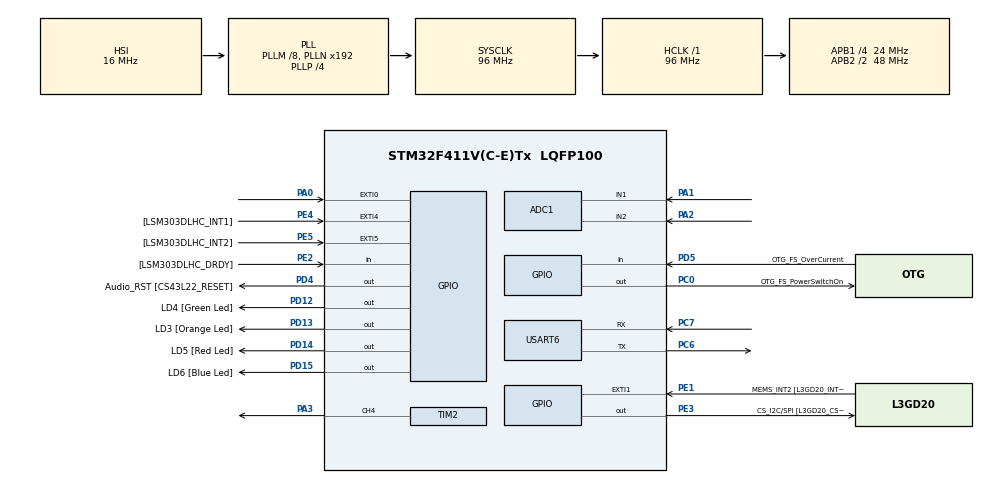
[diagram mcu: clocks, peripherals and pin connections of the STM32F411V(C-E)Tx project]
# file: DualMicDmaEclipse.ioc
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ADC1.Channel-0\#ChannelRegularConversion=ADC_CHANNEL_1
ADC1.Channel-1\#ChannelRegularConversion=ADC_CHANNEL_2
ADC1.ContinuousConvMode=ENABLE
ADC1.DMAContinuousRequests=ENABLE
ADC1.NbrOfConversion=2
ADC1.NbrOfConversionFlag=1
ADC1.Rank-0\#ChannelRegularConversion=1
ADC1.Rank-1\#ChannelRegularConversion=2
ADC1.SamplingTime-0\#ChannelRegularConversion=ADC_SAMPLETIME_56CYCLES
ADC1.SamplingTime-1\#ChannelRegularConversion=ADC_SAMPLETIME_56CYCLES
ADC1.ScanConvMode=ENABLE
ADC1.master=1
Dma.ADC1.0.Channel=DMA_CHANNEL_0
Dma.ADC1.0.Direction=DMA_PERIPH_TO_MEMORY
Dma.ADC1.0.FIFOMode=DMA_FIFOMODE_DISABLE
Dma.ADC1.0.Instance=DMA2_Stream0
Dma.ADC1.0.MemDataAlignment=DMA_MDATAALIGN_WORD
Dma.ADC1.0.MemInc=DMA_MINC_ENABLE
Dma.ADC1.0.Mode=DMA_CIRCULAR
Dma.ADC1.0.PeriphDataAlignment=DMA_PDATAALIGN_WORD
Dma.ADC1.0.PeriphInc=DMA_PINC_DISABLE
Dma.ADC1.0.Priority=DMA_PRIORITY_HIGH
Dma.Request0=ADC1
Mcu.Family=STM32F4
Mcu.Name=STM32F411V(C-E)Tx
Mcu.Package=LQFP100
NVIC.DMA2_Stream0_IRQn=true\:0\:0\:false
NVIC.PriorityGroup=NVIC_PRIORITYGROUP_0
PA0-WKUP.GPIO_ModeDefaultEXTI=GPIO_MODE_EVT_RISING
PA0-WKUP.Signal=GPXTI0
PA1.Signal=ADCx_IN1
PA10.GPIO_Label=OTG_FS_ID
PA10.Signal=USB_OTG_FS_ID
PA11.GPIO_Label=OTG_FS_DM
PA11.Signal=USB_OTG_FS_DM
PA12.GPIO_Label=OTG_FS_DP
PA12.Signal=USB_OTG_FS_DP
PA13.GPIO_Label=SWDIO
PA13.Signal=SYS_JTMS-SWDIO
PA14.GPIO_Label=SWCLK
PA14.Signal=SYS_JTCK-SWCLK
PA2.Signal=ADCx_IN2
PA3.Signal=S_TIM2_CH4
PA4.GPIO_Label=I2S3_WS [CS43L22_LRCK]
PA4.GPIO_Mode=GPIO_MODE_AF_PP
PA4.GPIO_PuPd=GPIO_NOPULL
PA4.GPIO_Speed=GPIO_SPEED_LOW
PA4.Signal=I2S3_WS
PA5.GPIO_Label=SPI1_SCK [L3GD20_SC/SPC]
PA5.Signal=SPI1_SCK
PA6.GPIO_Label=SPI1_MISO [L3GD20_AS0/SDO]
PA6.Signal=SPI1_MISO
PA7.GPIO_Label=SPI1_MOSI [L3GD20_SDA/SDI/SDO]
PA7.Signal=SPI1_MOSI
PA9.GPIO_Label=VBUS_FS
PA9.Signal=USB_OTG_FS_VBUS
PB10.GPIO_Label=CLK_IN [MP45DT02_CLK]
PB10.Signal=I2S2_CK
PB12.Signal=I2S2_WS
PB3.GPIO_Label=SWO
PB3.Signal=SYS_JTDO-SWO
PB6.GPIO_Label=Audio_SCL [CS43L22_SCL]
PB6.GPIO_Mode=GPIO_MODE_AF_OD
PB6.GPIO_PuPd=GPIO_NOPULL
PB6.GPIO_Speed=GPIO_SPEED_LOW
PB6.Signal=I2C1_SCL
PB9.GPIO_Label=Audio_SDA [CS43L22_SDA]
PB9.GPIO_Mode=GPIO_MODE_AF_OD
PB9.GPIO_PuPd=GPIO_NOPULL
PB9.GPIO_Speed=GPIO_SPEED_LOW
PB9.Signal=I2C1_SDA
PC0.GPIO_Label=OTG_FS_PowerSwitchOn
PC0.Signal=GPIO_Output
PC10.GPIO_Label=I2S3_SCK [CS43L22_SCLK]
PC10.GPIO_Mode=GPIO_MODE_AF_PP
PC10.GPIO_PuPd=GPIO_NOPULL
PC10.GPIO_Speed=GPIO_SPEED_LOW
PC10.Signal=I2S3_CK
PC12.GPIO_Label=I2S3_SD [CS43L22_SDIN]
PC12.GPIO_Mode=GPIO_MODE_AF_PP
PC12.GPIO_PuPd=GPIO_NOPULL
PC12.GPIO_Speed=GPIO_SPEED_LOW
PC12.Signal=I2S3_SD
PC14-OSC32_IN.GPIO_Label=PC14-OSC32_IN
PC14-OSC32_IN.Signal=RCC_OSC32_IN
PC15-OSC32_OUT.GPIO_Label=PC15-OSC32_OUT
PC15-OSC32_OUT.Signal=RCC_OSC32_OUT
PC3.GPIO_Label=PDM_OUT [MP45DT02_DOUT]
PC3.Signal=I2S2_SD
PC6.Mode=Asynchronous
PC6.Signal=USART6_TX
PC7.Mode=Asynchronous
PC7.Signal=USART6_RX
PD12.GPIO_Label=LD4 [Green Led]
PD12.GPIO_PuPd=GPIO_NOPULL
PD12.GPIO_Speed=GPIO_SPEED_LOW
PD12.Signal=GPIO_Output
PD13.GPIO_Label=LD3 [Orange Led]
PD13.GPIO_PuPd=GPIO_NOPULL
PD13.GPIO_Speed=GPIO_SPEED_LOW
PD13.Signal=GPIO_Output
PD14.GPIO_Label=LD5 [Red Led]
PD14.GPIO_PuPd=GPIO_NOPULL
PD14.GPIO_Speed=GPIO_SPEED_LOW
PD14.Signal=GPIO_Output
PD15.GPIO_Label=LD6 [Blue Led]
PD15.GPIO_PuPd=GPIO_NOPULL
PD15.GPIO_Speed=GPIO_SPEED_LOW
PD15.Signal=GPIO_Output
PD4.GPIO_Label=Audio_RST [CS43L22_RESET]
PD4.Signal=GPIO_Output
PD5.GPIO_Label=OTG_FS_OverCurrent
PD5.Signal=GPIO_Input
PE1.GPIO_Label=MEMS_INT2 [L3GD20_INT2]
PE1.GPIO_ModeDefaultEXTI=GPIO_MODE_EVT_RISING
PE1.Signal=GPXTI1
PE2.GPIO_Label=[LSM303DLHC_DRDY]
PE2.Signal=GPIO_Input
PE3.GPIO_Label=CS_I2C/SPI [L3GD20_CS_I2C/SPI]
PE3.Signal=GPIO_Output
PE4.GPIO_Label=[LSM303DLHC_INT1]
PE4.GPIO_ModeDefaultEXTI=GPIO_MODE_EVT_RISING
PE4.Signal=GPXTI4
PE5.GPIO_Label=[LSM303DLHC_INT2]
PE5.GPIO_ModeDefaultEXTI=GPIO_MODE_EVT_RISING
PE5.Signal=GPXTI5
PH0\ -\ OSC_IN.GPIO_Label=PH0-OSC_IN
PH0\ -\ OSC_IN.Signal=RCC_OSC_IN
PH1\ -\ OSC_OUT.GPIO_Label=PH1-OSC_OUT
PH1\ -\ OSC_OUT.Signal=RCC_OSC_OUT
ProjectManager.HeapSize=0x400
ProjectManager.StackSize=0x200
ProjectManager.TargetToolchain=SW4STM32
RCC.48MHZClocksFreq_Value=48000000
RCC.AHBFreq_Value=96000000
RCC.APB1CLKDivider=RCC_HCLK_DIV4
RCC.APB1Freq_Value=24000000
RCC.APB1TimFreq_Value=48000000
RCC.APB2CLKDivider=RCC_HCLK_DIV2
RCC.APB2Freq_Value=48000000
RCC.APB2TimFreq_Value=96000000
RCC.CortexFreq_Value=96000000
RCC.HCLKFreq_Value=96000000
RCC.HSE_VALUE=8000000
RCC.HSI_VALUE=16000000
RCC.LSE_VALUE=32768
RCC.PLLI2SM=5
RCC.PLLI2SN=200
RCC.PLLM=8
RCC.PLLP=RCC_PLLP_DIV4
RCC.PLLQ=8
RCC.SYSCLKFreq_VALUE=96000000
RCC.SYSCLKSource=RCC_SYSCLKSOURCE_PLLCLK
RCC.VCOOutputFreq_Value=384000000
SH.ADCx_IN1.0=ADC1_IN1,IN1
SH.ADCx_IN2.0=ADC1_IN2,IN2
SH.S_TIM2_CH4.0=TIM2_CH4,PWM Generation4 CH4
TIM2.Channel-PWM\ Generation4\ CH4=TIM_CHANNEL_4
TIM2.Period=10000
TIM2.Prescaler=96
VP_TIM2_VS_ClockSourceINT.Mode=Internal
board=STM32F411E-DISCO

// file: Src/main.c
/**
  ******************************************************************************
  * File Name          : main.c
  * Description        : Main program body
  ******************************************************************************
  *
  * COPYRIGHT(c) 2016 STMicroelectronics
  *
  * Redistribution and use in source and binary forms, with or without modification,
  * are permitted provided that the following conditions are met:
  *   1. Redistributions of source code must retain the above copyright notice,
  *      this list of conditions and the following disclaimer.
  *   2. Redistributions in binary form must reproduce the above copyright notice,
  *      this list of conditions and the following disclaimer in the documentation
  *      and/or other materials provided with the distribution.
  *   3. Neither the name of STMicroelectronics nor the names of its contributors
  *      may be used to endorse or promote products derived from this software
  *      without specific prior written permission.
  *
  * THIS SOFTWARE IS PROVIDED BY THE COPYRIGHT HOLDERS AND CONTRIBUTORS "AS IS"
  * AND ANY EXPRESS OR IMPLIED WARRANTIES, INCLUDING, BUT NOT LIMITED TO, THE
  * IMPLIED WARRANTIES OF MERCHANTABILITY AND FITNESS FOR A PARTICULAR PURPOSE ARE
  * DISCLAIMED. IN NO EVENT SHALL THE COPYRIGHT HOLDER OR CONTRIBUTORS BE LIABLE
  * FOR ANY DIRECT, INDIRECT, INCIDENTAL, SPECIAL, EXEMPLARY, OR CONSEQUENTIAL
  * DAMAGES (INCLUDING, BUT NOT LIMITED TO, PROCUREMENT OF SUBSTITUTE GOODS OR
  * SERVICES; LOSS OF USE, DATA, OR PROFITS; OR BUSINESS INTERRUPTION) HOWEVER
  * CAUSED AND ON ANY THEORY OF LIABILITY, WHETHER IN CONTRACT, STRICT LIABILITY,
  * OR TORT (INCLUDING NEGLIGENCE OR OTHERWISE) ARISING IN ANY WAY OUT OF THE USE
  * OF THIS SOFTWARE, EVEN IF ADVISED OF THE POSSIBILITY OF SUCH DAMAGE.
  *
  ******************************************************************************
  */
#include "stm32f4xx_hal.h"

/* USER CODE BEGIN Includes */
#include "string.h"
#include "stdio.h"
#include "math.h"
#include "arm_math.h"
#include "errno.h"
#include "stm32f4xx_hal_tim.h"
/* USER CODE END Includes */

ADC_HandleTypeDef hadc1;
DMA_HandleTypeDef hdma_adc1;

TIM_HandleTypeDef htim2;

UART_HandleTypeDef huart6;

/* USER CODE BEGIN PV */
/* Private variables ---------------------------------------------------------*/
#define ADC_BUFFER_LENGTH 4000
#define MAXDELAY 2000
#define STARTDELAY -2000
#define TIMEDELAY 0.000003665
uint32_t ADCBuffer1[ADC_BUFFER_LENGTH]={0};

//error errno solution "undefined reference to `__errno'"
int errno;
int* __errno(void){return &errno;}

/* USER CODE END PV */

void SystemClock_Config(void);
static void MX_GPIO_Init(void);
static void MX_DMA_Init(void);
static void MX_ADC1_Init(void);
static void MX_USART6_UART_Init(void);
static void MX_TIM2_Init(void);

void HAL_TIM_MspPostInit(TIM_HandleTypeDef *htim);

/* USER CODE BEGIN PFP */
/* Private function prototypes -----------------------------------------------*/

/* USER CODE END PFP */

/* USER CODE BEGIN 0 */
void ExportValues(uint32_t buffer[])
{
	char bufferprint[50] = {""};
	uint32_t twaalfbit = 4095;

	for(int i=0; i<ADC_BUFFER_LENGTH/2; i++)
	{
		  buffer[i] &= twaalfbit;
		  sprintf(bufferprint,"%05d",(int) buffer[i]);
		  HAL_UART_Transmit(&huart6,(uint8_t*) bufferprint,strlen(bufferprint),HAL_MAX_DELAY);
		  HAL_UART_Transmit(&huart6,(uint8_t*)"\r\n",strlen("\r\n"),HAL_MAX_DELAY);
	}
	  HAL_UART_Transmit(&huart6,(uint8_t*)"\r\n",strlen("\r\n"),HAL_MAX_DELAY);
	  sprintf(bufferprint,"....Finished....");
	  HAL_UART_Transmit(&huart6,(uint8_t*) bufferprint,strlen(bufferprint),HAL_MAX_DELAY);
	  HAL_UART_Transmit(&huart6,(uint8_t*)"\r\n",strlen("\r\n"),HAL_MAX_DELAY);
}
void Uart_transmit(uint32_t dma_buffer[])
{
	int i = 0;
	int count = 0;
	char buffer[50] = {"Empty.."};
	uint32_t twaalfbit = 4095;
	//int acht = 8;
	for(i=0; i<ADC_BUFFER_LENGTH;i++)
	{
		  if(i%2 ==0)
		  {

			  dma_buffer[i] &= twaalfbit;
			  sprintf(buffer,/*pin a1:%d ->*/"%05d"   ,(int) dma_buffer[i]);
			  HAL_UART_Transmit(&huart6,(uint8_t*) buffer,strlen(buffer),HAL_MAX_DELAY);
			  count++;
		  }
		  else
		  {
			  dma_buffer[i] &= twaalfbit;
			  sprintf(buffer,"pin a2:%d -> %05d   ",count,(int) dma_buffer[i]);
			  HAL_UART_Transmit(&huart6,(uint8_t*) buffer,strlen(buffer),HAL_MAX_DELAY);
			  count++;
		  }
		  HAL_UART_Transmit(&huart6,(uint8_t*)"\r\n",strlen("\r\n"),HAL_MAX_DELAY);
	}
	HAL_UART_Transmit(&huart6,(uint8_t*)"\r\n",strlen("\r\n"),HAL_MAX_DELAY);
}
void Uart_array(double array[], int length)
{
	HAL_UART_Transmit(&huart6,(uint8_t*)"...Transmitting...",strlen("...Transmitting..."),HAL_MAX_DELAY);
	char buffer[50] = {""};
	for(int i = 0; i<length; i++)
	{
		  sprintf(buffer,"%f",array[i]);
		  HAL_UART_Transmit(&huart6,(uint8_t*) buffer,strlen(buffer),HAL_MAX_DELAY);
		  HAL_UART_Transmit(&huart6,(uint8_t*)"\r\n",strlen("\r\n"),HAL_MAX_DELAY);
	}
}
/*void HAL_ADC_ConvCpltCallback(ADC_HandleTypeDef* hadc)
{
	HAL_GPIO_WritePin(GPIOD,LD4_Pin,GPIO_PIN_SET);//ORANGE
}*/
void Correlate(uint32_t buffer1[], uint32_t buffer2[],double *correlation)
{
	double mean1, mean2, s1, s2, s, denom, r;
	int count = 0;
	int n = ADC_BUFFER_LENGTH/2;
	uint32_t twaalfbit = 4095;
	//mean berekenen
	mean1 = 0;
	mean2 = 0;
	for (int i = 0;i < n;i++)
	{
		buffer1[i] = buffer1[i] & twaalfbit;
		buffer2[i] = buffer2[i] & twaalfbit;
		mean1 += buffer1[i];
		mean2 += buffer2[i];
	}
	mean1 /= n;
	mean2 /= n;

	//denominator
	s1 = 0;
	s2 = 0;
	for (int i = 0;i < n;i++) {
	  s1 += (buffer1[i] - mean1) * (buffer1[i] - mean1);
	  s2 += (buffer2[i] - mean2) * (buffer2[i] - mean2);
	}
	denom = sqrt(s1*s2);

	HAL_UART_Transmit(&huart6,(uint8_t*)"...Denom done...\r\n",strlen("...Denom done...\r\n"),HAL_MAX_DELAY);
	//correlatie reeks

	for (int delay= -4000; delay<4000; delay++)
	{
	  s = 0;
	  for (int i=0; i<n; i++)
	  {
		  //first approach (non-circular)
		 int j = i + delay;
		 if (j < 0 || j >= n)
		 {
			continue;
		 }
		 else
		 {
			s += (buffer1[i] - mean1) * (buffer2[j] - mean2);
		 }
	  }
	  r = s / denom;
	  correlation[count] = r;
	  count++;
	  /* r is the correlation coefficient at "delay" */

	}
}
int ScanHigh(double * correlation)
{
	int top = 5000;
	double value = 0.0;
	for(int i = 0; i<7999; i++)
	{
		if(correlation[i] > value)
		{
			value = correlation[i];
			top = i;
		}
	}
	return top;
}
double berekenHoek(int verschuiving)
{
	int d = verschuiving - 4000;
	int c = 343;
	float x = 0.07;
	double hoek = 500;
	hoek = acos((d * TIMEDELAY * c)/x);
	hoek = hoek * 57.2957795; //radialen omzetten naar graden
	return hoek;
}
void servoMove(double hoek)
{
	int move = 500 + 2.77777 * hoek;
	//__HAL_TIM_SetCompare(&htim1,TIM_CHANNEL_4,1210);

	  __HAL_TIM_SetCompare(&htim2,TIM_CHANNEL_4,move);
	  HAL_Delay(2000);
}
/* USER CODE END 0 */

int main(void)
{

  /* USER CODE BEGIN 1 */
//static int __errno = 1;
//static int errno = 1;
//static int _errno = 1;
  /* USER CODE END 1 */

  /* MCU Configuration----------------------------------------------------------*/

  /* Reset of all peripherals, Initializes the Flash interface and the Systick. */
  HAL_Init();

  /* Configure the system clock */
  SystemClock_Config();

  /* Initialize all configured peripherals */
  MX_GPIO_Init();
  MX_DMA_Init();
  MX_ADC1_Init();
  MX_USART6_UART_Init();
  MX_TIM2_Init();

  /* USER CODE BEGIN 2 */
char tempbuffer[50]= {""};
uint32_t bufferPin1[ADC_BUFFER_LENGTH/2]={0};
uint32_t bufferPin2[ADC_BUFFER_LENGTH/2]={0};
double correlatieArray[8000]={0};
HAL_TIM_PWM_Start(&htim2,TIM_CHANNEL_4);
  /* USER CODE END 2 */

  /* Infinite loop */
  while (1)
  {

  /* USER CODE BEGIN 3 */
	  if(HAL_GPIO_ReadPin(GPIOA,GPIO_PIN_0))
	  {
		  //Blink twice then constant on -> recording
		  for(int i = 0; i<5;i++)
		  {
			  HAL_Delay(500);
			  HAL_GPIO_TogglePin(GPIOD,LD6_Pin);//BLUE
		  }
		  //start recording samples
		  for(int i = 0;i<ADC_BUFFER_LENGTH;i++)
		  {
			  HAL_ADC_Start(&hadc1);
			  HAL_ADC_Start_DMA(&hadc1, (uint32_t*)&ADCBuffer1[0], ADC_BUFFER_LENGTH);
		  }
		  //signal recording stopped, start uart transmit
		  HAL_GPIO_TogglePin(GPIOD,LD6_Pin);//BLUE
		  HAL_GPIO_TogglePin(GPIOD,LD5_Pin);//RED

		  /*sprintf(tempbuffer,"printcount: %d   ",printCount);
		  HAL_UART_Transmit(&huart6,(uint8_t*) tempbuffer,strlen(tempbuffer),HAL_MAX_DELAY);
		  HAL_UART_Transmit(&huart6,(uint8_t*)"\r\n",strlen("\r\n"),HAL_MAX_DELAY);
		  printCount++;
		  Uart_transmit(ADCBuffer1);*/

		  HAL_Delay(500);
		  int count1 = 0, count2 = 0;
		  for(int i = 0; i<ADC_BUFFER_LENGTH; i++)
		  {
			  if(i%2==0)
			  {
				  bufferPin1[count1] = ADCBuffer1[i];
				  count1++;
			  }
			  else
			  {
				  bufferPin2[count2] = ADCBuffer1[i];
				  count2++;
				  if(count2 >= ADC_BUFFER_LENGTH/2) count2 = 0;
			  }
		  }
		  /*sprintf(tempbuffer,"Microfoon 1 (pin a1)/r/n");
		  HAL_UART_Transmit(&huart6,(uint8_t*) tempbuffer,strlen(tempbuffer),HAL_MAX_DELAY);
		  ExportValues(bufferPin1);
		  sprintf(tempbuffer,"Microfoon 2 (pin a2)/r/n");
		  HAL_UART_Transmit(&huart6,(uint8_t*) tempbuffer,strlen(tempbuffer),HAL_MAX_DELAY);
		  ExportValues(bufferPin2);*/
		  HAL_GPIO_TogglePin(GPIOD,LD5_Pin);//RED
		  HAL_GPIO_TogglePin(GPIOD,LD4_Pin);//Yellow
		  Correlate(bufferPin1, bufferPin2,correlatieArray);
		  //arm_correlate_f32(bufferPin1, ADC_BUFFER_LENGTH/2, bufferPin2, ADC_BUFFER_LENGTH/2, correlatieArray);
		  //arm_correlate_fast_q31(bufferPin1,ADC_BUFFER_LENGTH/2, bufferPin2,ADC_BUFFER_LENGTH/2, correlatieArray);
		  HAL_Delay(500);
		  HAL_GPIO_TogglePin(GPIOD,LD4_Pin);//Yellow
		  HAL_GPIO_TogglePin(GPIOD,LD5_Pin);//RED
		  //drukt correlatie array af
		  //Uart_array(correlatieArray, 8000);
		  //end of operations
		  HAL_Delay(500);
		  HAL_GPIO_TogglePin(GPIOD,LD5_Pin);//RED
		  HAL_GPIO_TogglePin(GPIOD,LD3_Pin);//ORANGE
		  int sweetspot;
		  char special[50];
		  sweetspot = ScanHigh(correlatieArray);
		  HAL_UART_Transmit(&huart6,(uint8_t*)"\r\n",strlen("\r\n"),HAL_MAX_DELAY);
		  sprintf(special,"sweetspot: %d -> %f  ",sweetspot,correlatieArray[sweetspot]);
		  HAL_UART_Transmit(&huart6,(uint8_t*) special,strlen(special),HAL_MAX_DELAY);
		  HAL_UART_Transmit(&huart6,(uint8_t*)"...Done...",strlen("...Done..."),HAL_MAX_DELAY);
		  HAL_UART_Transmit(&huart6,(uint8_t*)"\r\n",strlen("\r\n"),HAL_MAX_DELAY);
		  double hoek = 500;
		  hoek = berekenHoek(sweetspot);
		  servoMove(hoek);
		  sprintf(special,"Hoek: %f  ",hoek);
		  HAL_UART_Transmit(&huart6,(uint8_t*) special,strlen(special),HAL_MAX_DELAY);
		  HAL_UART_Transmit(&huart6,(uint8_t*)"...Done...",strlen("...Done..."),HAL_MAX_DELAY);
		  HAL_UART_Transmit(&huart6,(uint8_t*)"\r\n",strlen("\r\n"),HAL_MAX_DELAY);

	  }
	//HAL_ADC_ConvCpltCallback(&hadc1);
  }
  /* USER CODE END 3 */

}

/** System Clock Configuration
*/
void SystemClock_Config(void)
{

  RCC_OscInitTypeDef RCC_OscInitStruct;
  RCC_ClkInitTypeDef RCC_ClkInitStruct;

  __PWR_CLK_ENABLE();

  __HAL_PWR_VOLTAGESCALING_CONFIG(PWR_REGULATOR_VOLTAGE_SCALE1);

  RCC_OscInitStruct.OscillatorType = RCC_OSCILLATORTYPE_HSI;
  RCC_OscInitStruct.HSIState = RCC_HSI_ON;
  RCC_OscInitStruct.HSICalibrationValue = 16;
  RCC_OscInitStruct.PLL.PLLState = RCC_PLL_ON;
  RCC_OscInitStruct.PLL.PLLSource = RCC_PLLSOURCE_HSI;
  RCC_OscInitStruct.PLL.PLLM = 8;
  RCC_OscInitStruct.PLL.PLLN = 192;
  RCC_OscInitStruct.PLL.PLLP = RCC_PLLP_DIV4;
  RCC_OscInitStruct.PLL.PLLQ = 8;
  HAL_RCC_OscConfig(&RCC_OscInitStruct);

  RCC_ClkInitStruct.ClockType = RCC_CLOCKTYPE_HCLK|RCC_CLOCKTYPE_SYSCLK
                              |RCC_CLOCKTYPE_PCLK1|RCC_CLOCKTYPE_PCLK2;
  RCC_ClkInitStruct.SYSCLKSource = RCC_SYSCLKSOURCE_PLLCLK;
  RCC_ClkInitStruct.AHBCLKDivider = RCC_SYSCLK_DIV1;
  RCC_ClkInitStruct.APB1CLKDivider = RCC_HCLK_DIV4;
  RCC_ClkInitStruct.APB2CLKDivider = RCC_HCLK_DIV2;
  HAL_RCC_ClockConfig(&RCC_ClkInitStruct, FLASH_LATENCY_3);

  HAL_SYSTICK_Config(HAL_RCC_GetHCLKFreq()/1000);

  HAL_SYSTICK_CLKSourceConfig(SYSTICK_CLKSOURCE_HCLK);

  /* SysTick_IRQn interrupt configuration */
  HAL_NVIC_SetPriority(SysTick_IRQn, 0, 0);
}

/* ADC1 init function */
void MX_ADC1_Init(void)
{

  ADC_ChannelConfTypeDef sConfig;

    /**Configure the global features of the ADC (Clock, Resolution, Data Alignment and number of conversion)
    */
  hadc1.Instance = ADC1;
  hadc1.Init.ClockPrescaler = ADC_CLOCKPRESCALER_PCLK_DIV2;
  hadc1.Init.Resolution = ADC_RESOLUTION12b;
  hadc1.Init.ScanConvMode = ENABLE;
  hadc1.Init.ContinuousConvMode = ENABLE;
  hadc1.Init.DiscontinuousConvMode = DISABLE;
  hadc1.Init.ExternalTrigConvEdge = ADC_EXTERNALTRIGCONVEDGE_NONE;
  hadc1.Init.DataAlign = ADC_DATAALIGN_RIGHT;
  hadc1.Init.NbrOfConversion = 2;
  hadc1.Init.DMAContinuousRequests = ENABLE;
  hadc1.Init.EOCSelection = EOC_SINGLE_CONV;
  HAL_ADC_Init(&hadc1);

    /**Configure for the selected ADC regular channel its corresponding rank in the sequencer and its sample time.
    */
  sConfig.Channel = ADC_CHANNEL_1;
  sConfig.Rank = 1;
  sConfig.SamplingTime = ADC_SAMPLETIME_56CYCLES;
  HAL_ADC_ConfigChannel(&hadc1, &sConfig);

    /**Configure for the selected ADC regular channel its corresponding rank in the sequencer and its sample time.
    */
  sConfig.Channel = ADC_CHANNEL_2;
  sConfig.Rank = 2;
  HAL_ADC_ConfigChannel(&hadc1, &sConfig);

}

/* TIM2 init function */
void MX_TIM2_Init(void)
{

  TIM_ClockConfigTypeDef sClockSourceConfig;
  TIM_MasterConfigTypeDef sMasterConfig;
  TIM_OC_InitTypeDef sConfigOC;

  htim2.Instance = TIM2;
  htim2.Init.Prescaler = 96;
  htim2.Init.CounterMode = TIM_COUNTERMODE_UP;
  htim2.Init.Period = 10000;
  htim2.Init.ClockDivision = TIM_CLOCKDIVISION_DIV1;
  HAL_TIM_Base_Init(&htim2);

  sClockSourceConfig.ClockSource = TIM_CLOCKSOURCE_INTERNAL;
  HAL_TIM_ConfigClockSource(&htim2, &sClockSourceConfig);

  HAL_TIM_PWM_Init(&htim2);

  sMasterConfig.MasterOutputTrigger = TIM_TRGO_RESET;
  sMasterConfig.MasterSlaveMode = TIM_MASTERSLAVEMODE_DISABLE;
  HAL_TIMEx_MasterConfigSynchronization(&htim2, &sMasterConfig);

  sConfigOC.OCMode = TIM_OCMODE_PWM1;
  sConfigOC.Pulse = 0;
  sConfigOC.OCPolarity = TIM_OCPOLARITY_HIGH;
  sConfigOC.OCFastMode = TIM_OCFAST_DISABLE;
  HAL_TIM_PWM_ConfigChannel(&htim2, &sConfigOC, TIM_CHANNEL_4);

  HAL_TIM_MspPostInit(&htim2);

}

/* USART6 init function */
void MX_USART6_UART_Init(void)
{

  huart6.Instance = USART6;
  huart6.Init.BaudRate = 115200;
  huart6.Init.WordLength = UART_WORDLENGTH_8B;
  huart6.Init.StopBits = UART_STOPBITS_1;
  huart6.Init.Parity = UART_PARITY_NONE;
  huart6.Init.Mode = UART_MODE_TX_RX;
  huart6.Init.HwFlowCtl = UART_HWCONTROL_NONE;
  huart6.Init.OverSampling = UART_OVERSAMPLING_16;
  HAL_UART_Init(&huart6);

}

void MX_DMA_Init(void)
{
  /* DMA controller clock enable */
  __DMA2_CLK_ENABLE();

  /* DMA interrupt init */
  HAL_NVIC_SetPriority(DMA2_Stream0_IRQn, 0, 0);
  HAL_NVIC_EnableIRQ(DMA2_Stream0_IRQn);

}

/** Configure pins as
        * Analog
        * Input
        * Output
        * EVENT_OUT
        * EXTI
     PC3   ------> I2S2_SD
     PA4   ------> I2S3_WS
     PA5   ------> SPI1_SCK
     PA6   ------> SPI1_MISO
     PA7   ------> SPI1_MOSI
     PB10   ------> I2S2_CK
     PB12   ------> I2S2_WS
     PA9   ------> USB_OTG_FS_VBUS
     PA10   ------> USB_OTG_FS_ID
     PA11   ------> USB_OTG_FS_DM
     PA12   ------> USB_OTG_FS_DP
     PC10   ------> I2S3_CK
     PC12   ------> I2S3_SD
     PB6   ------> I2C1_SCL
     PB9   ------> I2C1_SDA
*/
void MX_GPIO_Init(void)
{

  GPIO_InitTypeDef GPIO_InitStruct;

  /* GPIO Ports Clock Enable */
  __GPIOE_CLK_ENABLE();
  __GPIOC_CLK_ENABLE();
  __GPIOH_CLK_ENABLE();
  __GPIOA_CLK_ENABLE();
  __GPIOB_CLK_ENABLE();
  __GPIOD_CLK_ENABLE();

  /*Configure GPIO pin : PE2 */
  GPIO_InitStruct.Pin = GPIO_PIN_2;
  GPIO_InitStruct.Mode = GPIO_MODE_INPUT;
  GPIO_InitStruct.Pull = GPIO_NOPULL;
  HAL_GPIO_Init(GPIOE, &GPIO_InitStruct);

  /*Configure GPIO pin : CS_I2C_SPI_Pin */
  GPIO_InitStruct.Pin = CS_I2C_SPI_Pin;
  GPIO_InitStruct.Mode = GPIO_MODE_OUTPUT_PP;
  GPIO_InitStruct.Pull = GPIO_NOPULL;
  GPIO_InitStruct.Speed = GPIO_SPEED_LOW;
  HAL_GPIO_Init(CS_I2C_SPI_GPIO_Port, &GPIO_InitStruct);

  /*Configure GPIO pins : PE4 PE5 MEMS_INT2_Pin */
  GPIO_InitStruct.Pin = GPIO_PIN_4|GPIO_PIN_5|MEMS_INT2_Pin;
  GPIO_InitStruct.Mode = GPIO_MODE_EVT_RISING;
  GPIO_InitStruct.Pull = GPIO_NOPULL;
  HAL_GPIO_Init(GPIOE, &GPIO_InitStruct);

  /*Configure GPIO pin : OTG_FS_PowerSwitchOn_Pin */
  GPIO_InitStruct.Pin = OTG_FS_PowerSwitchOn_Pin;
  GPIO_InitStruct.Mode = GPIO_MODE_OUTPUT_PP;
  GPIO_InitStruct.Pull = GPIO_NOPULL;
  GPIO_InitStruct.Speed = GPIO_SPEED_LOW;
  HAL_GPIO_Init(OTG_FS_PowerSwitchOn_GPIO_Port, &GPIO_InitStruct);

  /*Configure GPIO pin : PDM_OUT_Pin */
  GPIO_InitStruct.Pin = PDM_OUT_Pin;
  GPIO_InitStruct.Mode = GPIO_MODE_AF_PP;
  GPIO_InitStruct.Pull = GPIO_NOPULL;
  GPIO_InitStruct.Speed = GPIO_SPEED_LOW;
  GPIO_InitStruct.Alternate = GPIO_AF5_SPI2;
  HAL_GPIO_Init(PDM_OUT_GPIO_Port, &GPIO_InitStruct);

  /*Configure GPIO pin : PA0 */
  GPIO_InitStruct.Pin = GPIO_PIN_0;
  GPIO_InitStruct.Mode = GPIO_MODE_EVT_RISING;
  GPIO_InitStruct.Pull = GPIO_NOPULL;
  HAL_GPIO_Init(GPIOA, &GPIO_InitStruct);

  /*Configure GPIO pin : PA4 */
  GPIO_InitStruct.Pin = GPIO_PIN_4;
  GPIO_InitStruct.Mode = GPIO_MODE_AF_PP;
  GPIO_InitStruct.Pull = GPIO_NOPULL;
  GPIO_InitStruct.Speed = GPIO_SPEED_LOW;
  GPIO_InitStruct.Alternate = GPIO_AF6_SPI3;
  HAL_GPIO_Init(GPIOA, &GPIO_InitStruct);

  /*Configure GPIO pins : PA5 PA6 PA7 */
  GPIO_InitStruct.Pin = GPIO_PIN_5|GPIO_PIN_6|GPIO_PIN_7;
  GPIO_InitStruct.Mode = GPIO_MODE_AF_PP;
  GPIO_InitStruct.Pull = GPIO_NOPULL;
  GPIO_InitStruct.Speed = GPIO_SPEED_HIGH;
  GPIO_InitStruct.Alternate = GPIO_AF5_SPI1;
  HAL_GPIO_Init(GPIOA, &GPIO_InitStruct);

  /*Configure GPIO pins : CLK_IN_Pin PB12 */
  GPIO_InitStruct.Pin = CLK_IN_Pin|GPIO_PIN_12;
  GPIO_InitStruct.Mode = GPIO_MODE_AF_PP;
  GPIO_InitStruct.Pull = GPIO_NOPULL;
  GPIO_InitStruct.Speed = GPIO_SPEED_LOW;
  GPIO_InitStruct.Alternate = GPIO_AF5_SPI2;
  HAL_GPIO_Init(GPIOB, &GPIO_InitStruct);

  /*Configure GPIO pins : LD4_Pin LD3_Pin LD5_Pin LD6_Pin
                           Audio_RST_Pin */
  GPIO_InitStruct.Pin = LD4_Pin|LD3_Pin|LD5_Pin|LD6_Pin
                          |Audio_RST_Pin;
  GPIO_InitStruct.Mode = GPIO_MODE_OUTPUT_PP;
  GPIO_InitStruct.Pull = GPIO_NOPULL;
  GPIO_InitStruct.Speed = GPIO_SPEED_LOW;
  HAL_GPIO_Init(GPIOD, &GPIO_InitStruct);

  /*Configure GPIO pin : VBUS_FS_Pin */
  GPIO_InitStruct.Pin = VBUS_FS_Pin;
  GPIO_InitStruct.Mode = GPIO_MODE_INPUT;
  GPIO_InitStruct.Pull = GPIO_NOPULL;
  HAL_GPIO_Init(VBUS_FS_GPIO_Port, &GPIO_InitStruct);

  /*Configure GPIO pins : OTG_FS_ID_Pin OTG_FS_DM_Pin OTG_FS_DP_Pin */
  GPIO_InitStruct.Pin = OTG_FS_ID_Pin|OTG_FS_DM_Pin|OTG_FS_DP_Pin;
  GPIO_InitStruct.Mode = GPIO_MODE_AF_PP;
  GPIO_InitStruct.Pull = GPIO_NOPULL;
  GPIO_InitStruct.Speed = GPIO_SPEED_HIGH;
  GPIO_InitStruct.Alternate = GPIO_AF10_OTG_FS;
  HAL_GPIO_Init(GPIOA, &GPIO_InitStruct);

  /*Configure GPIO pins : I2S3_SCK_Pin PC12 */
  GPIO_InitStruct.Pin = I2S3_SCK_Pin|GPIO_PIN_12;
  GPIO_InitStruct.Mode = GPIO_MODE_AF_PP;
  GPIO_InitStruct.Pull = GPIO_NOPULL;
  GPIO_InitStruct.Speed = GPIO_SPEED_LOW;
  GPIO_InitStruct.Alternate = GPIO_AF6_SPI3;
  HAL_GPIO_Init(GPIOC, &GPIO_InitStruct);

  /*Configure GPIO pin : OTG_FS_OverCurrent_Pin */
  GPIO_InitStruct.Pin = OTG_FS_OverCurrent_Pin;
  GPIO_InitStruct.Mode = GPIO_MODE_INPUT;
  GPIO_InitStruct.Pull = GPIO_NOPULL;
  HAL_GPIO_Init(OTG_FS_OverCurrent_GPIO_Port, &GPIO_InitStruct);

  /*Configure GPIO pins : Audio_SCL_Pin Audio_SDA_Pin */
  GPIO_InitStruct.Pin = Audio_SCL_Pin|Audio_SDA_Pin;
  GPIO_InitStruct.Mode = GPIO_MODE_AF_OD;
  GPIO_InitStruct.Pull = GPIO_PULLUP;
  GPIO_InitStruct.Speed = GPIO_SPEED_LOW;
  GPIO_InitStruct.Alternate = GPIO_AF4_I2C1;
  HAL_GPIO_Init(GPIOB, &GPIO_InitStruct);

  /*Configure GPIO pin Output Level */
  HAL_GPIO_WritePin(CS_I2C_SPI_GPIO_Port, CS_I2C_SPI_Pin, GPIO_PIN_RESET);

  /*Configure GPIO pin Output Level */
  HAL_GPIO_WritePin(OTG_FS_PowerSwitchOn_GPIO_Port, OTG_FS_PowerSwitchOn_Pin, GPIO_PIN_RESET);

  /*Configure GPIO pin Output Level */
  HAL_GPIO_WritePin(GPIOD, LD4_Pin|LD3_Pin|LD5_Pin|LD6_Pin
                          |Audio_RST_Pin, GPIO_PIN_RESET);

}

/************************ (C) COPYRIGHT STMicroelectronics *****END OF FILE****/
